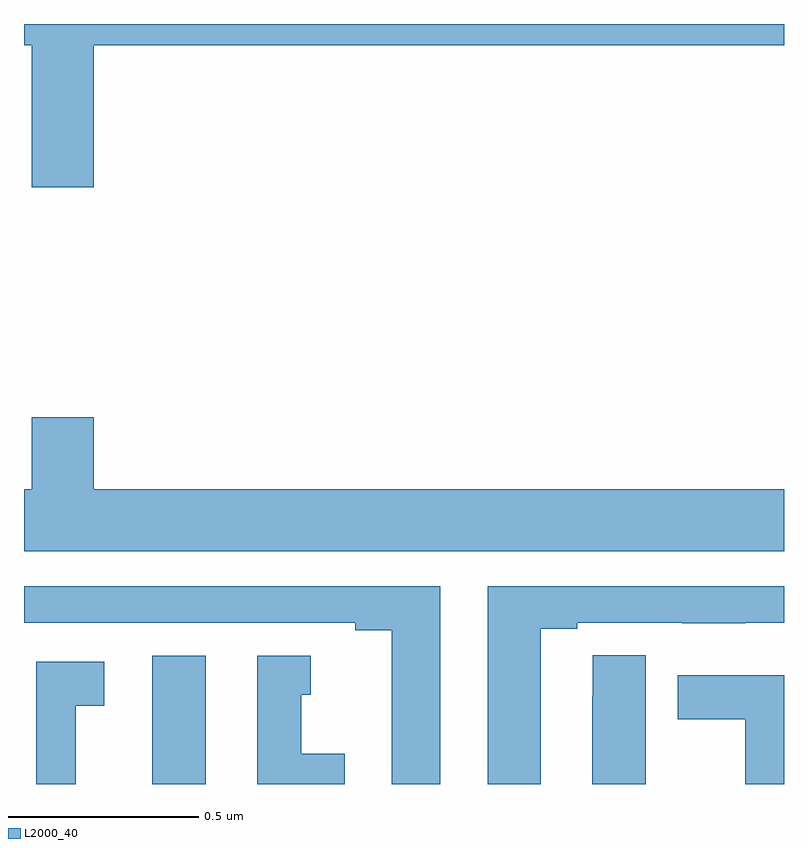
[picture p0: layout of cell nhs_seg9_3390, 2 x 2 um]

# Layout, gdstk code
import gdstk
lib = gdstk.Library(unit=1e-6, precision=1e-09)
def R(c, l, rs):  # rectangles x0, y0, x1, y1
    for r in rs: c.add(gdstk.rectangle(r[:2], r[2:], *l))
def P(c, l, *ps):  # polygons
    for p in ps: c.add(gdstk.Polygon(p, *l))
L2000_40 = (2000, 40)

nhs_seg9_3390 = lib.new_cell('nhs_seg9_3390')
R(nhs_seg9_3390, L2000_40, [(153.338,1170.5,153.478,1170.838)])
P(nhs_seg9_3390, L2000_40, [(153,1172.444),(153.02,1172.444),(153.02,1172.07),(153.184,1172.07),(153.184,1172.444),(155,1172.444),(155,1172.5),(153,1172.5)],
  [(155,1171.276),(153.184,1171.276),(153.184,1171.465),(153.02,1171.465),(153.02,1171.276),(153,1171.276),(153,1171.112),(155,1171.112)],
  [(154.096,1171.02),(153,1171.02),(153,1170.924),(153.872,1170.924),(153.872,1170.904),(153.968,1170.904),(153.968,1170.5),(154.096,1170.5)],
  [(154.36,1170.909),(154.456,1170.909),(154.456,1170.924),(154.732,1170.924),(154.732,1170.923),(154.898,1170.923),(154.898,1170.924),(155,1170.924),(155,1171.02),(154.22,1171.02),(154.22,1170.5),(154.36,1170.5)],
  [(154.636,1170.839),(154.497,1170.839),(154.497,1170.731),(154.496,1170.731),(154.496,1170.5),(154.636,1170.5)],
  [(153.844,1170.58),(153.73,1170.58),(153.73,1170.735),(153.754,1170.735),(153.754,1170.838),(153.614,1170.838),(153.614,1170.5),(153.844,1170.5)],
  [(153.136,1170.706),(153.211,1170.706),(153.211,1170.822),(153.032,1170.822),(153.032,1170.5),(153.136,1170.5)],
  [(155,1170.786),(154.721,1170.786),(154.721,1170.67),(154.898,1170.67),(154.898,1170.5),(155,1170.5)])

lib.write_gds('nhs_seg9_3390.gds')
